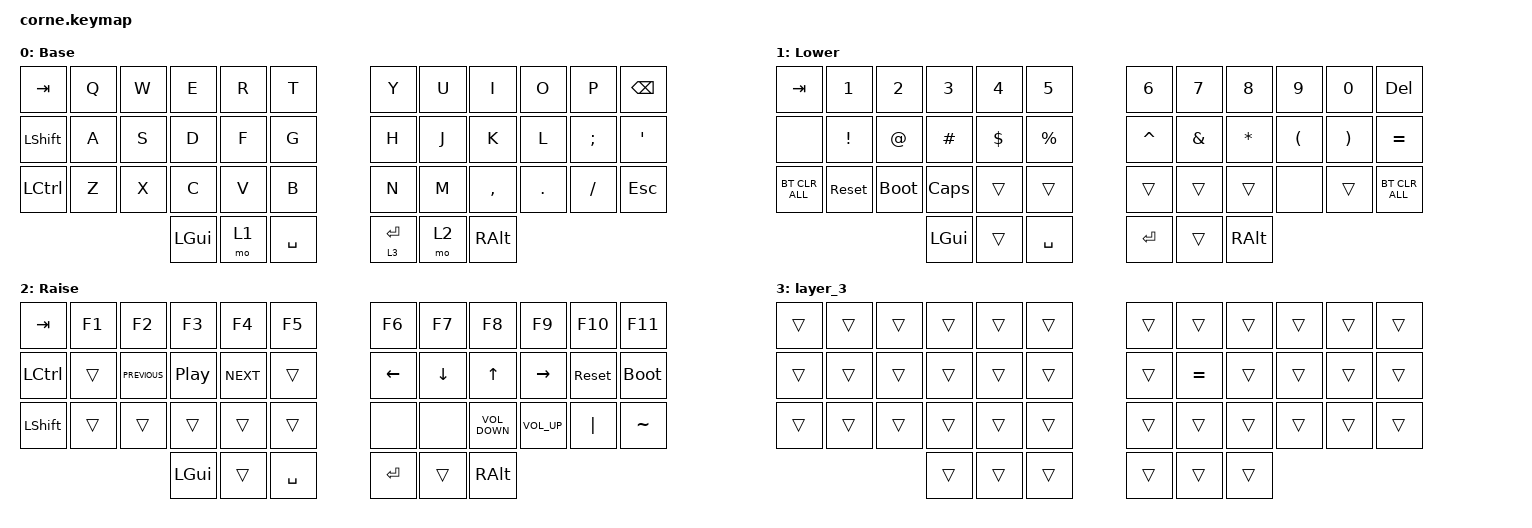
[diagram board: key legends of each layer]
/*
 * Copyright (c) 2020 The ZMK Contributors
 *
 * SPDX-License-Identifier: MIT
 */

#include <behaviors.dtsi>
#include <dt-bindings/zmk/keys.h>
#include <dt-bindings/zmk/bt.h>
#include <dt-bindings/zmk/outputs.h>
#include <dt-bindings/zmk/ext_power.h>
#include <dt-bindings/led/led.h>
#include <dt-bindings/zmk/backlight.h>
#include <dt-bindings/zmk/rgb.h>
#include <dt-bindings/zmk/reset.h>

&led_strip {
    chain-length = <27>;
};

/ {
    keymap {
        compatible = "zmk,keymap";

       default_layer {
            // -----------------------------------------------------------------------------------------
            // |  TAB |  Q  |  W  |  E  |  R  |  T  |   |  Y  |  U   |  I  |  O  |  P  | BKSP |
            // | CTRL |  A  |  S  |  D  |  F  |  G  |   |  H  |  J   |  K  |  L  |  ;  |  '   |
            // | SHFT |  Z  |  X  |  C  |  V  |  B  |   |  N  |  M   |  ,  |  .  |  /  | ESC  |
            //                    | GUI | LWR | SPC |   | ENT | RSE  | ALT |

            display-name = "Base";
            bindings = <
&kp TAB           &kp Q  &kp W  &kp E     &kp R  &kp T        &kp Y        &kp U  &kp I      &kp O    &kp P     &kp BSPC
&kp LEFT_SHIFT    &kp A  &kp S  &kp D     &kp F  &kp G        &kp H        &kp J  &kp K      &kp L    &kp SEMI  &kp SQT
&kp LEFT_CONTROL  &kp Z  &kp X  &kp C     &kp V  &kp B        &kp N        &kp M  &kp COMMA  &kp DOT  &kp FSLH  &kp ESC
                                &kp LGUI  &mo 1  &kp SPACE    &lt 3 ENTER  &mo 2  &kp RALT
            >;
        };

        lower_layer {
            // -----------------------------------------------------------------------------------------
            // |  TAB |  1  |  2  |  3  |  4  |  5  |   |  6  |  7  |  8  |  9  |  0  | BKSP |
            // | BTCLR| BT1 | BT2 | BT3 | BT4 | BT5 |   | LFT | DWN |  UP | RGT |     |      |
            // | SHFT |     |     |     |     |     |   |     |     |     |     |     |      |
            //                    | GUI |     | SPC |   | ENT |     | ALT |

            display-name = "Lower";
            bindings = <
&kp TAB         &kp N1           &kp N2       &kp N3        &kp N4      &kp N5         &kp N6     &kp N7         &kp N8        &kp N9                &kp N0                 &kp DELETE
&none           &kp EXCLAMATION  &kp AT_SIGN  &kp HASH      &kp DOLLAR  &kp PERCENT    &kp CARET  &kp AMPERSAND  &kp ASTERISK  &kp LEFT_PARENTHESIS  &kp RIGHT_PARENTHESIS  &kp EQUAL
&bt BT_CLR_ALL  &sys_reset       &bootloader  &kp CAPSLOCK  &trans      &trans         &trans     &trans         &trans        &none                 &trans                 &bt BT_CLR_ALL
                                              &kp LGUI      &trans      &kp SPACE      &kp RET    &trans         &kp RALT
            >;
        };

        raise_layer {
            // -----------------------------------------------------------------------------------------
            // |  TAB |  !  |  @  |  #  |  $  |  %  |   |  ^  |  &  |  *  |  (  |  )  | BKSP |
            // | CTRL |     |     |     |     |     |   |  -  |  =  |  [  |  ]  |  \  |  `   |
            // | SHFT |     |     |     |     |     |   |  _  |  +  |  {  |  }  | "|" |  ~   |
            //                    | GUI |     | SPC |   | ENT |     | ALT |

            display-name = "Raise";
            bindings = <
&kp TAB    &kp F1  &kp F2          &kp F3            &kp F4      &kp F5       &kp F6    &kp F7          &kp F8             &kp F9           &kp F10     &kp F11
&kp LCTRL  &trans  &kp C_PREVIOUS  &kp C_PLAY_PAUSE  &kp C_NEXT  &trans       &kp LEFT  &kp DOWN_ARROW  &kp UP_ARROW       &kp RIGHT        &sys_reset  &bootloader
&kp LSHFT  &trans  &trans          &trans            &trans      &trans       &none     &none           &kp K_VOLUME_DOWN  &kp K_VOLUME_UP  &kp PIPE    &kp TILDE
                                   &kp LGUI          &trans      &kp SPACE    &kp RET   &trans          &kp RALT
            >;
        };

        layer_3 {
            bindings = <
&trans  &trans  &trans  &trans  &trans  &trans    &trans  &trans     &trans  &trans  &trans  &trans
&trans  &trans  &trans  &trans  &trans  &trans    &trans  &kp EQUAL  &trans  &trans  &trans  &trans
&trans  &trans  &trans  &trans  &trans  &trans    &trans  &trans     &trans  &trans  &trans  &trans
                        &trans  &trans  &trans    &trans  &trans     &trans
            >;
        };
        extra_1 {
            status = "reserved";
        };

        extra_2 {
            status = "reserved";
        };

        extra_3 {
            status = "reserved";
        };
    };
};
